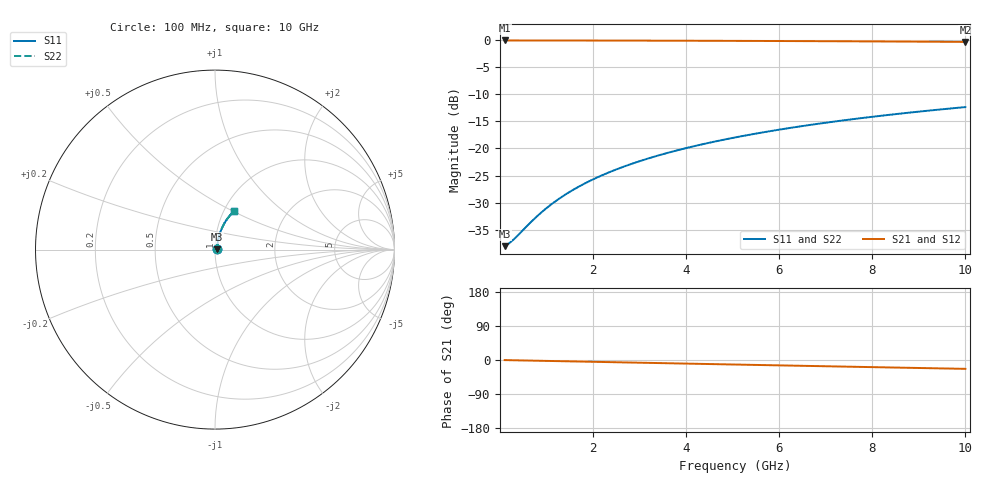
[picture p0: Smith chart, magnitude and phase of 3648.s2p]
# Hz S RI R 50.00
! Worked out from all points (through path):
!   100 points, 100 MHz to 10 GHz, reference 50 ohm
!   highest |S21| = -0.11 dB at 100 MHz (marker M1); lowest = -0.4 dB at 10 GHz (marker M2)
!   group delay of S21, straight-line fit = 6.5 ps
!   lowest |S11| = -38.0 dB at 100 MHz (marker M3), VSWR 1.03, Z = 51.2 + j0.253 ohm
!   |S11| at or under -10 dB: start of sweep to end of sweep
!   |S22| runs from -38.0 to -12.4 dB; largest |S21 - S12| = 0
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1e8  0.0123 0.00247  0.9877 -0.0041  0.9877 -0.0041  0.0123 0.00247
2e8  0.0124 0.00493  0.9876 -0.00821  0.9876 -0.00821  0.0124 0.00493
3e8  0.0125 0.00739  0.9874 -0.0123  0.9874 -0.0123  0.0125 0.00739
6e8  0.0129 0.0148  0.987 -0.0246  0.987 -0.0246  0.0129 0.0148
8e8  0.0133 0.0197  0.9866 -0.0328  0.9866 -0.0328  0.0133 0.0197
9e8  0.0135 0.0221  0.9864 -0.0369  0.9864 -0.0369  0.0135 0.0221
1.1e9  0.014 0.0271  0.9859 -0.0451  0.9859 -0.0451  0.014 0.0271
1.4e9  0.0148 0.0344  0.9849 -0.0573  0.9849 -0.0573  0.0148 0.0344
1.6e9  0.0154 0.0393  0.9842 -0.0655  0.9842 -0.0655  0.0154 0.0393
1.8e9  0.0162 0.0441  0.9834 -0.0736  0.9834 -0.0736  0.0162 0.0441
2.1e9  0.0174 0.0514  0.982 -0.0858  0.982 -0.0858  0.0174 0.0514
2.5e9  0.0193 0.061  0.9798 -0.102  0.9798 -0.102  0.0193 0.061
2.9e9  0.0216 0.0706  0.9773 -0.1181  0.9773 -0.1181  0.0216 0.0706
3.4e9  0.0248 0.0824  0.9736 -0.1381  0.9736 -0.1381  0.0248 0.0824
3.8e9  0.0277 0.0917  0.9703 -0.154  0.9703 -0.154  0.0277 0.0917
4.2e9  0.0309 0.1009  0.9666 -0.1698  0.9666 -0.1698  0.0309 0.1009
5.1e9  0.0392 0.1211  0.9572 -0.2048  0.9572 -0.2048  0.0392 0.1211
5.9e9  0.0478 0.1385  0.9474 -0.2353  0.9474 -0.2353  0.0478 0.1385
6.7e9  0.0575 0.1551  0.9363 -0.2651  0.9363 -0.2651  0.0575 0.1551
7.5e9  0.0681 0.171  0.9241 -0.2942  0.9241 -0.2942  0.0681 0.171
8.4e9  0.0812 0.1879  0.9091 -0.326  0.9091 -0.326  0.0812 0.1879
1e10  0.1069 0.2151  0.8792 -0.3797  0.8792 -0.3797  0.1069 0.2151
